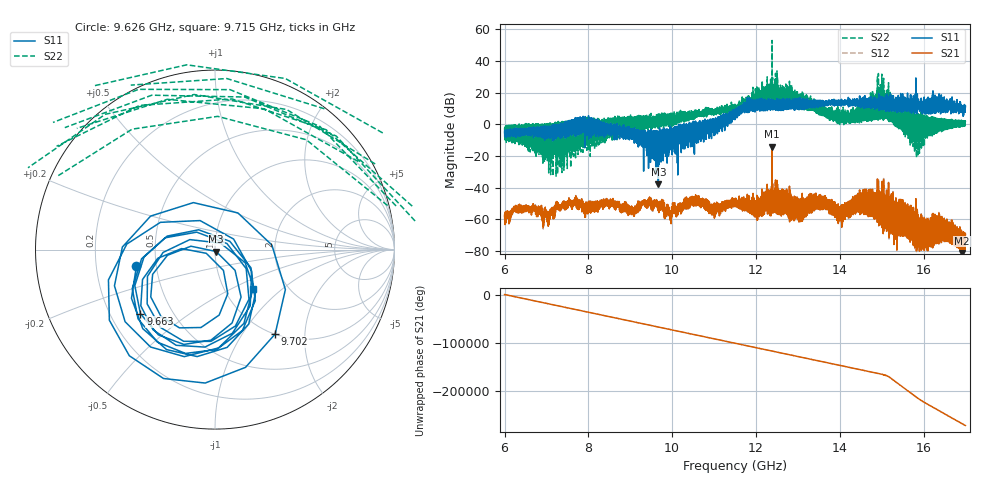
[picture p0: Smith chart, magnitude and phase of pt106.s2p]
#  HZ  S  RI  R  50.00
! Rohde & Schwarz Vector Network Analyzer
! Rohde-Schwarz,ZNA67-2Port,1332450062101215,3.01
! Created: UTC 10/19/2026, 2:24:15 PM
! freq[Hz]  re:S11  im:S11  re:S21  im:S21  re:S12  im:S12  re:S22  im:S22
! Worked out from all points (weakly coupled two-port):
!   11001 points, 6 GHz to 17 GHz, reference 50 ohm
!   highest |S21| = -14.27 dB at 12.38 GHz (marker M1); lowest = -81.3 dB at 16.92 GHz (marker M2)
!   lowest |S11| = -38.0 dB at 9.67 GHz (marker M3), VSWR 1.03, Z = 50.7 - j1.08 ohm
!   |S11| at or under -10 dB: 9.212662 GHz to 9.216214 GHz (3.552 MHz wide, 0.0385 % of centre); 9.608856 GHz to 9.613041 GHz (4.185 MHz wide, 0.0435 % of centre); 9.667859 GHz to 9.672506 GHz (4.647 MHz wide, 0.0481 % of centre) (the widest 3 of 119)
!   |S22| runs from -32.8 to 52.9 dB; largest |S21 - S12| = 0.012
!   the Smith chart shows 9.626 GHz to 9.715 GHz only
!   S11 on the Smith chart (normalised r, x): 9.626 GHz: 0.39, -0.09; 9.663 GHz: 0.33, -0.34; 9.702 GHz: 1.00, -1.42; 9.715 GHz: 1.36, -0.65
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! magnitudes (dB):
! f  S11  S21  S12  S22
! 6 GHz  -5.0  -57.5  -57.2  -2.2
! 7.834 GHz  -4.8  -52.0  -51.9  -11.3
! 9.626 GHz  -7.0  -47.7  -47.8  5.7
! 9.663 GHz  -5.2  -51.0  -51.1  2.3
! 9.667 GHz  -7.5  -53.7  -53.8  -1.8
! 9.67 GHz  -38.0  -51.9  -52.1  2.8
! 9.702 GHz  -4.8  -53.2  -53.2  1.1
! 9.715 GHz  -10.3  -51.7  -52.0  1.7
! 9.953 GHz  -2.5  -55.0  -55.2  6.1
! 10.46 GHz  -7.3  -49.8  -50.1  4.2
! 10.97 GHz  2.1  -50.9  -50.9  8.4
! 11.5 GHz  4.2  -50.3  -50.4  9.1
! 12.01 GHz  10.7  -58.3  -58.5  10.7
! 12.38 GHz  9.9  -14.3  -13.8  52.9
! 13.04 GHz  15.8  -53.1  -52.9  15.1
! 13.33 GHz  11.5  -53.6  -53.5  10.3
! 13.99 GHz  13.0  -58.0  -57.5  1.4
! 14.45 GHz  12.7  -54.3  -53.8  2.0
! 15.17 GHz  10.7  -62.4  -62.5  3.9
! 15.82 GHz  29.3  -47.1  -47.6  3.4
! 16.92 GHz  9.6  -81.3  -80.2  -1.2
! 17 GHz  11.1  -72.8  -73.3  1.4
